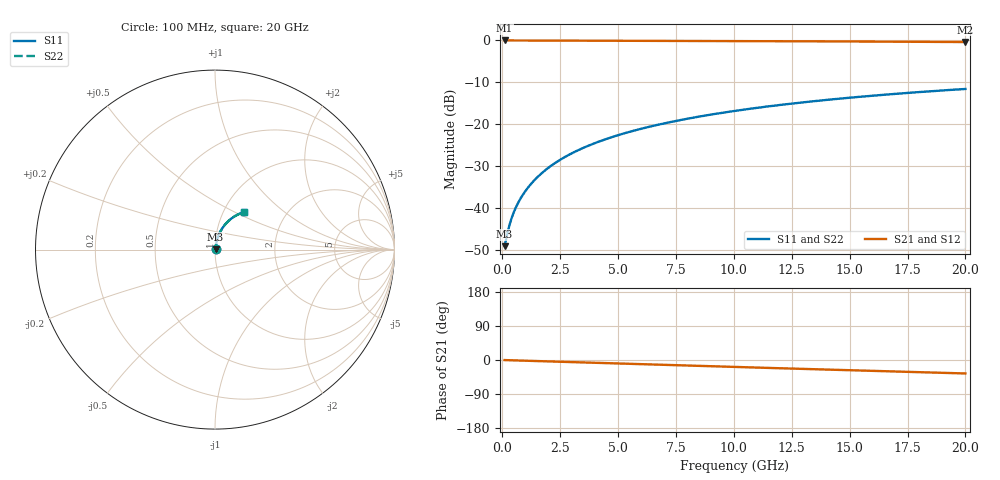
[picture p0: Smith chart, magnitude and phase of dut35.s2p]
! Touchstone file exported from HFSS 2026.1.0
!  File:  C:/ffzhzh/LocalFiles/Ansys_Project_Files/temp_train_BSMRDL_35_1782882274_8056.aedt
!  Generated:  01:05:48 PM Jul  1, 2026
!  Design:  BSMRDL
!  Project:  temp_train_BSMRDL_35_1782882274_8056
! Variables:
!  h_bsmrdl = 2.51um
!  h_ox = 20um
!  h_rdl = 5um
!  h_sub = 80um
!  h_tmrdl = 5um
!  h_tsv = 80um
!  h_via = 3um
!  l_bsmrdl = 538.73um
!  l_sub = 938.73um
!  l_tmrdl = 200um
!  m_sub = 200um
!  pitch = 45.88um
!  r_tsv = 6um
!  s_tmrdl = 10um
!  w_bsmrdl = 28.18um
!  w_sub = 500um
!  w_tmrdl = 12um
!  x_tsv_center1 = 206um
!  x_tsv_center2 = 772.91um
!  x_tsv_center3 = 984.91um
!  x_tsv_center4 = 1551.82um
!  x_tsv_center5 = 1763.82um
!  x_tsv_center6 = 2330.73um
# GHz S MA R 50.000000
! Terminal data exported
! Port[1] = BSM_RDL1_1_T1
! Port[2] = BSM_RDL1_1_T2
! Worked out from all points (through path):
!   200 points, 100 MHz to 20 GHz, reference 50 ohm
!   highest |S21| = -0.03 dB at 100 MHz (marker M1); lowest = -0.4 dB at 20 GHz (marker M2)
!   group delay of S21, straight-line fit = 4.94 ps
!   lowest |S11| = -49.0 dB at 100 MHz (marker M3), VSWR 1.01, Z = 50.3 + j0.178 ohm
!   |S11| at or under -10 dB: start of sweep to end of sweep
!   |S22| runs from -49.0 to -11.6 dB; largest |S21 - S12| = 2.7e-15
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0.1  0.003529 30.1  0.997 -0.2  0.997 -0.2  0.003529 30.1
! Gamma 0 0 0 0
! Port Impedance 50 0 50 0
0.2  0.004742 47.2  0.9968 -0.4  0.9968 -0.4  0.004742 47.2
0.3  0.00615 55.9  0.9966 -0.6  0.9966 -0.6  0.006151 55.9
0.4  0.007583 61.1  0.9964 -0.8  0.9964 -0.8  0.007584 61.1
0.5  0.009004 64.5  0.9962 -1.0  0.9962 -1.0  0.009004 64.5
0.6  0.01041 67.0  0.9961 -1.1  0.9961 -1.1  0.01041 67.0
0.8  0.01322 70.6  0.9959 -1.5  0.9959 -1.5  0.01322 70.6
1.1  0.01746 73.9  0.9956 -2.1  0.9956 -2.1  0.01746 73.9
1.3  0.02032 75.3  0.9955 -2.4  0.9955 -2.4  0.02032 75.3
1.6  0.02465 76.7  0.9953 -3.0  0.9953 -3.0  0.02465 76.7
2.1  0.03191 78.0  0.995 -3.9  0.995 -3.9  0.03191 78.0
2.7  0.04067 78.5  0.9945 -5.0  0.9945 -5.0  0.04067 78.4
3.5  0.05236 78.2  0.9938 -6.5  0.9938 -6.5  0.05236 78.2
4.2  0.06255 77.7  0.993 -7.7  0.993 -7.7  0.06255 77.6
5  0.07413 76.7  0.992 -9.2  0.992 -9.2  0.07413 76.7
5.9  0.08704 75.5  0.9907 -10.9  0.9907 -10.9  0.08704 75.5
6.8  0.0998 74.2  0.9892 -12.5  0.9892 -12.5  0.0998 74.1
8.3  0.1207 71.8  0.9863 -15.2  0.9863 -15.2  0.1207 71.8
10.1  0.1451 68.8  0.9823 -18.4  0.9823 -18.4  0.1451 68.8
13.4  0.1877 63.3  0.974 -24.2  0.974 -24.2  0.1877 63.2
16.7  0.2272 57.8  0.9646 -29.9  0.9646 -29.9  0.2272 57.7
20  0.2635 52.4  0.9546 -35.5  0.9546 -35.5  0.2635 52.3
